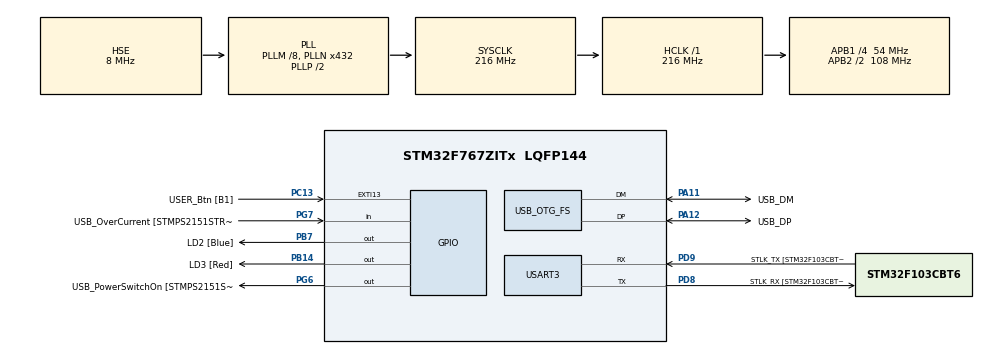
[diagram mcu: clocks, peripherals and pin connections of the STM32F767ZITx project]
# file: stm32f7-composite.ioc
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Mcu.Family=STM32F7
Mcu.Name=STM32F767ZITx
Mcu.Package=LQFP144
NVIC.OTG_FS_IRQn=true\:0\:0\:false\:false\:true\:false
NVIC.PriorityGroup=NVIC_PRIORITYGROUP_4
NVIC.TIM7_IRQn=true\:0\:0\:false\:false\:true\:false
NVIC.TimeBase=TIM7_IRQn
NVIC.TimeBaseIP=TIM7
PA11.GPIO_Label=USB_DM
PA11.Mode=Device_Only
PA11.Signal=USB_OTG_FS_DM
PA12.GPIO_Label=USB_DP
PA12.Mode=Device_Only
PA12.Signal=USB_OTG_FS_DP
PA13.GPIO_Label=TMS
PA13.Mode=Serial_Wire
PA13.Signal=SYS_JTMS-SWDIO
PA14.GPIO_Label=TCK
PA14.Mode=Serial_Wire
PA14.Signal=SYS_JTCK-SWCLK
PB14.GPIO_Label=LD3 [Red]
PB14.Signal=GPIO_Output
PB7.GPIO_Label=LD2 [Blue]
PB7.Signal=GPIO_Output
PC13.GPIO_Label=USER_Btn [B1]
PC13.Signal=GPXTI13
PC14/OSC32_IN.Mode=LSE-External-Oscillator
PC14/OSC32_IN.Signal=RCC_OSC32_IN
PC15/OSC32_OUT.Mode=LSE-External-Oscillator
PC15/OSC32_OUT.Signal=RCC_OSC32_OUT
PD8.GPIO_Label=STLK_RX [STM32F103CBT6_PA3]
PD8.Mode=Asynchronous
PD8.Signal=USART3_TX
PD9.GPIO_Label=STLK_TX [STM32F103CBT6_PA2]
PD9.Mode=Asynchronous
PD9.Signal=USART3_RX
PG6.GPIO_Label=USB_PowerSwitchOn [STMPS2151STR_EN]
PG6.Signal=GPIO_Output
PG7.GPIO_Label=USB_OverCurrent [STMPS2151STR_FAULT]
PG7.Signal=GPIO_Input
PH0/OSC_IN.GPIO_Label=MCO [STM32F103CBT6_PA8]
PH0/OSC_IN.Mode=HSE-External-Clock-Source
PH0/OSC_IN.Signal=RCC_OSC_IN
PH1/OSC_OUT.Mode=HSE-External-Clock-Source
PH1/OSC_OUT.Signal=RCC_OSC_OUT
ProjectManager.HeapSize=0x2000
ProjectManager.StackSize=0x1400
ProjectManager.TargetToolchain=TrueSTUDIO
RCC.48MHZClocksFreq_Value=24000000
RCC.AHBFreq_Value=216000000
RCC.APB1CLKDivider=RCC_HCLK_DIV4
RCC.APB1Freq_Value=54000000
RCC.APB1TimFreq_Value=108000000
RCC.APB2CLKDivider=RCC_HCLK_DIV2
RCC.APB2Freq_Value=108000000
RCC.APB2TimFreq_Value=216000000
RCC.CortexFreq_Value=216000000
RCC.HCLKFreq_Value=216000000
RCC.HSE_VALUE=8000000
RCC.HSI_VALUE=16000000
RCC.PLLM=8
RCC.PLLMUL=RCC_PLL_MUL9
RCC.PLLN=432
RCC.PLLQ=9
RCC.PRESCALERUSB=RCC_USBCLKSOURCE_PLL_DIV1_5
RCC.SYSCLKFreq_VALUE=216000000
RCC.SYSCLKSource=RCC_SYSCLKSOURCE_PLLCLK
RCC.SYSCLKSourceVirtual=RCC_SYSCLKSOURCE_PLLCLK
RCC.USBFreq_Value=48000000
RCC.VCOOutputFreq_Value=432000000
USART3.VirtualMode-Asynchronous=VM_ASYNC
USB_DEVICE.CLASS_NAME_FS=CDC
USB_DEVICE.VirtualMode-CDC_FS=Cdc
USB_DEVICE.VirtualModeFS=Cdc_FS
USB_OTG_FS.VirtualMode=Device_Only
VP_SYS_VS_tim7.Mode=TIM7
VP_USB_DEVICE_VS_USB_DEVICE_CDC_FS.Mode=CDC_FS
board=NUCLEO-F767ZI

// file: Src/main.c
/**
  ******************************************************************************
  * @file           : main.c
  * @brief          : Main program body
  ******************************************************************************
  * This notice applies to any and all portions of this file
  * that are not between comment pairs USER CODE BEGIN and
  * USER CODE END. Other portions of this file, whether
  * inserted by the user or by software development tools
  * are owned by their respective copyright owners.
  *
  * Copyright (c) 2018 STMicroelectronics International N.V.
  * All rights reserved.
  *
  * Redistribution and use in source and binary forms, with or without
  * modification, are permitted, provided that the following conditions are met:
  *
  * 1. Redistribution of source code must retain the above copyright notice,
  *    this list of conditions and the following disclaimer.
  * 2. Redistributions in binary form must reproduce the above copyright notice,
  *    this list of conditions and the following disclaimer in the documentation
  *    and/or other materials provided with the distribution.
  * 3. Neither the name of STMicroelectronics nor the names of other
  *    contributors to this software may be used to endorse or promote products
  *    derived from this software without specific written permission.
  * 4. This software, including modifications and/or derivative works of this
  *    software, must execute solely and exclusively on microcontroller or
  *    microprocessor devices manufactured by or for STMicroelectronics.
  * 5. Redistribution and use of this software other than as permitted under
  *    this license is void and will automatically terminate your rights under
  *    this license.
  *
  * THIS SOFTWARE IS PROVIDED BY STMICROELECTRONICS AND CONTRIBUTORS "AS IS"
  * AND ANY EXPRESS, IMPLIED OR STATUTORY WARRANTIES, INCLUDING, BUT NOT
  * LIMITED TO, THE IMPLIED WARRANTIES OF MERCHANTABILITY, FITNESS FOR A
  * PARTICULAR PURPOSE AND NON-INFRINGEMENT OF THIRD PARTY INTELLECTUAL PROPERTY
  * RIGHTS ARE DISCLAIMED TO THE FULLEST EXTENT PERMITTED BY LAW. IN NO EVENT
  * SHALL STMICROELECTRONICS OR CONTRIBUTORS BE LIABLE FOR ANY DIRECT, INDIRECT,
  * INCIDENTAL, SPECIAL, EXEMPLARY, OR CONSEQUENTIAL DAMAGES (INCLUDING, BUT NOT
  * LIMITED TO, PROCUREMENT OF SUBSTITUTE GOODS OR SERVICES; LOSS OF USE, DATA,
  * OR PROFITS; OR BUSINESS INTERRUPTION) HOWEVER CAUSED AND ON ANY THEORY OF
  * LIABILITY, WHETHER IN CONTRACT, STRICT LIABILITY, OR TORT (INCLUDING
  * NEGLIGENCE OR OTHERWISE) ARISING IN ANY WAY OUT OF THE USE OF THIS SOFTWARE,
  * EVEN IF ADVISED OF THE POSSIBILITY OF SUCH DAMAGE.
  *
  ******************************************************************************
  */
#include "main.h"
#include "stm32f7xx_hal.h"
#include "usb_device.h"

/* USER CODE BEGIN Includes */
#include <stdio.h>
#include <string.h>
#include <stdlib.h>
#ifdef __GNUC__
	/* With GCC/RAISONANCE, small printf (option LD Linker->Libraries->Small printf
		 set to 'Yes') calls __io_putchar() */
	#define PUTCHAR_PROTOTYPE int __io_putchar(int ch)
#else
	#define PUTCHAR_PROTOTYPE int fputc(int ch, FILE *f)
#endif /* __GNUC__ */

static void MPU_Config(void);

/* USER CODE END Includes */

UART_HandleTypeDef huart3;

/* USER CODE BEGIN PV */
/* Private variables ---------------------------------------------------------*/

/* USER CODE END PV */

void SystemClock_Config(void);
static void MX_GPIO_Init(void);
static void MX_USART3_UART_Init(void);

/* USER CODE BEGIN PFP */
/* Private function prototypes -----------------------------------------------*/

/* USER CODE END PFP */

/* USER CODE BEGIN 0 */

volatile uint32_t camera_desired_state = 0;
static __IO uint32_t camera_current_state = 0;

struct queue* empty_disp_buffers;
struct queue* process_disp_buffers;

__IO int32_t  camera_buffer = 0;
__IO int32_t  camera_buffer_state = 0;
__IO uint32_t Jpeg_Camera_Buffers[3] =
{
  0x20020000,
  0x20040000,
	0x20060000
};

PUTCHAR_PROTOTYPE
{
	HAL_UART_Transmit(&huart3, (uint8_t *)&ch, 1, 0x0f);

  return ch;
}

/* USER CODE END 0 */

int main(void)
{
  /* USER CODE BEGIN 1 */
  /* MPU Configuration----------------------------------------------------------*/
  MPU_Config();

  /* Enable I-Cache-------------------------------------------------------------*/
  SCB_EnableICache();

  /* Enable D-Cache-------------------------------------------------------------*/
  SCB_EnableDCache();
  /* USER CODE END 1 */

  /* MCU Configuration----------------------------------------------------------*/

  /* Reset of all peripherals, Initializes the Flash interface and the Systick. */
  HAL_Init();

  /* Configure the system clock */
  SystemClock_Config();

  /* Initialize all configured peripherals */
  MX_GPIO_Init();
  MX_USART3_UART_Init();
  MX_USB_DEVICE_Init();
  /* USER CODE BEGIN 2 */

  MX_USB_DEVICE_Init();

  /* USER CODE END 2 */

  /* Infinite loop */
  while (1)
  {

  /* USER CODE BEGIN 3 */
		HAL_GPIO_TogglePin(LD2_GPIO_Port, LD2_Pin);
		HAL_Delay(150);
  }
  /* USER CODE END 3 */

}

void SystemClock_Config(void)
{

  RCC_OscInitTypeDef RCC_OscInitStruct;
  RCC_ClkInitTypeDef RCC_ClkInitStruct;
  RCC_PeriphCLKInitTypeDef PeriphClkInitStruct;

    /**Configure the main internal regulator output voltage
    */
  __HAL_RCC_PWR_CLK_ENABLE();

  __HAL_PWR_VOLTAGESCALING_CONFIG(PWR_REGULATOR_VOLTAGE_SCALE1);

    /**Initializes the CPU, AHB and APB busses clocks
    */
  RCC_OscInitStruct.OscillatorType = RCC_OSCILLATORTYPE_HSE;
  RCC_OscInitStruct.HSEState = RCC_HSE_BYPASS;
  RCC_OscInitStruct.PLL.PLLState = RCC_PLL_ON;
  RCC_OscInitStruct.PLL.PLLSource = RCC_PLLSOURCE_HSE;
  RCC_OscInitStruct.PLL.PLLM = 8;
  RCC_OscInitStruct.PLL.PLLN = 432;
  RCC_OscInitStruct.PLL.PLLP = RCC_PLLP_DIV2;
  RCC_OscInitStruct.PLL.PLLQ = 9;
  if (HAL_RCC_OscConfig(&RCC_OscInitStruct) != HAL_OK)
  {
    _Error_Handler(__FILE__, __LINE__);
  }

    /**Activate the Over-Drive mode
    */
  if (HAL_PWREx_EnableOverDrive() != HAL_OK)
  {
    _Error_Handler(__FILE__, __LINE__);
  }

    /**Initializes the CPU, AHB and APB busses clocks
    */
  RCC_ClkInitStruct.ClockType = RCC_CLOCKTYPE_HCLK|RCC_CLOCKTYPE_SYSCLK
                              |RCC_CLOCKTYPE_PCLK1|RCC_CLOCKTYPE_PCLK2;
  RCC_ClkInitStruct.SYSCLKSource = RCC_SYSCLKSOURCE_PLLCLK;
  RCC_ClkInitStruct.AHBCLKDivider = RCC_SYSCLK_DIV1;
  RCC_ClkInitStruct.APB1CLKDivider = RCC_HCLK_DIV4;
  RCC_ClkInitStruct.APB2CLKDivider = RCC_HCLK_DIV2;

  if (HAL_RCC_ClockConfig(&RCC_ClkInitStruct, FLASH_LATENCY_7) != HAL_OK)
  {
    _Error_Handler(__FILE__, __LINE__);
  }

  PeriphClkInitStruct.PeriphClockSelection = RCC_PERIPHCLK_USART3|RCC_PERIPHCLK_CLK48;
  PeriphClkInitStruct.Usart3ClockSelection = RCC_USART3CLKSOURCE_PCLK1;
  PeriphClkInitStruct.Clk48ClockSelection = RCC_CLK48SOURCE_PLL;
  if (HAL_RCCEx_PeriphCLKConfig(&PeriphClkInitStruct) != HAL_OK)
  {
    _Error_Handler(__FILE__, __LINE__);
  }

    /**Configure the Systick interrupt time
    */
  HAL_SYSTICK_Config(HAL_RCC_GetHCLKFreq()/1000);

    /**Configure the Systick
    */
  HAL_SYSTICK_CLKSourceConfig(SYSTICK_CLKSOURCE_HCLK);

  /* SysTick_IRQn interrupt configuration */
  HAL_NVIC_SetPriority(SysTick_IRQn, 0, 0);
}

/* USART3 init function */
static void MX_USART3_UART_Init(void)
{

  huart3.Instance = USART3;
  huart3.Init.BaudRate = 115200;
  huart3.Init.WordLength = UART_WORDLENGTH_8B;
  huart3.Init.StopBits = UART_STOPBITS_1;
  huart3.Init.Parity = UART_PARITY_NONE;
  huart3.Init.Mode = UART_MODE_TX_RX;
  huart3.Init.HwFlowCtl = UART_HWCONTROL_NONE;
  huart3.Init.OverSampling = UART_OVERSAMPLING_16;
  huart3.Init.OneBitSampling = UART_ONE_BIT_SAMPLE_DISABLE;
  huart3.AdvancedInit.AdvFeatureInit = UART_ADVFEATURE_NO_INIT;
  if (HAL_UART_Init(&huart3) != HAL_OK)
  {
    _Error_Handler(__FILE__, __LINE__);
  }

}

/** Configure pins as
        * Analog
        * Input
        * Output
        * EVENT_OUT
        * EXTI
*/
static void MX_GPIO_Init(void)
{

  GPIO_InitTypeDef GPIO_InitStruct;

  /* GPIO Ports Clock Enable */
  __HAL_RCC_GPIOC_CLK_ENABLE();
  __HAL_RCC_GPIOH_CLK_ENABLE();
  __HAL_RCC_GPIOB_CLK_ENABLE();
  __HAL_RCC_GPIOD_CLK_ENABLE();
  __HAL_RCC_GPIOG_CLK_ENABLE();
  __HAL_RCC_GPIOA_CLK_ENABLE();

  /*Configure GPIO pin Output Level */
  HAL_GPIO_WritePin(GPIOB, LD3_Pin|LD2_Pin, GPIO_PIN_RESET);

  /*Configure GPIO pin Output Level */
  HAL_GPIO_WritePin(USB_PowerSwitchOn_GPIO_Port, USB_PowerSwitchOn_Pin, GPIO_PIN_RESET);

  /*Configure GPIO pin : USER_Btn_Pin */
  GPIO_InitStruct.Pin = USER_Btn_Pin;
  GPIO_InitStruct.Mode = GPIO_MODE_IT_RISING;
  GPIO_InitStruct.Pull = GPIO_NOPULL;
  HAL_GPIO_Init(USER_Btn_GPIO_Port, &GPIO_InitStruct);

  /*Configure GPIO pins : LD3_Pin LD2_Pin */
  GPIO_InitStruct.Pin = LD3_Pin|LD2_Pin;
  GPIO_InitStruct.Mode = GPIO_MODE_OUTPUT_PP;
  GPIO_InitStruct.Pull = GPIO_NOPULL;
  GPIO_InitStruct.Speed = GPIO_SPEED_FREQ_LOW;
  HAL_GPIO_Init(GPIOB, &GPIO_InitStruct);

  /*Configure GPIO pin : USB_PowerSwitchOn_Pin */
  GPIO_InitStruct.Pin = USB_PowerSwitchOn_Pin;
  GPIO_InitStruct.Mode = GPIO_MODE_OUTPUT_PP;
  GPIO_InitStruct.Pull = GPIO_NOPULL;
  GPIO_InitStruct.Speed = GPIO_SPEED_FREQ_LOW;
  HAL_GPIO_Init(USB_PowerSwitchOn_GPIO_Port, &GPIO_InitStruct);

  /*Configure GPIO pin : USB_OverCurrent_Pin */
  GPIO_InitStruct.Pin = USB_OverCurrent_Pin;
  GPIO_InitStruct.Mode = GPIO_MODE_INPUT;
  GPIO_InitStruct.Pull = GPIO_NOPULL;
  HAL_GPIO_Init(USB_OverCurrent_GPIO_Port, &GPIO_InitStruct);

}

/* USER CODE BEGIN 4 */
void MPU_Config(void)
{
  MPU_Region_InitTypeDef MPU_InitStruct;

  /* Disables the MPU */
  HAL_MPU_Disable();
    /**Initializes and configures the Region and the memory to be protected
    */
  MPU_InitStruct.Enable = MPU_REGION_ENABLE;
  MPU_InitStruct.Number = MPU_REGION_NUMBER0;
  MPU_InitStruct.BaseAddress = 0x20000000;
  MPU_InitStruct.Size = MPU_REGION_SIZE_128KB;
  MPU_InitStruct.SubRegionDisable = 0x0;
  MPU_InitStruct.TypeExtField = MPU_TEX_LEVEL0;
  MPU_InitStruct.AccessPermission = MPU_REGION_FULL_ACCESS;
  MPU_InitStruct.DisableExec = MPU_INSTRUCTION_ACCESS_ENABLE;
  MPU_InitStruct.IsShareable = MPU_ACCESS_NOT_SHAREABLE;
  MPU_InitStruct.IsCacheable = MPU_ACCESS_NOT_CACHEABLE;
  MPU_InitStruct.IsBufferable = MPU_ACCESS_NOT_BUFFERABLE;

  HAL_MPU_ConfigRegion(&MPU_InitStruct);

    /**Initializes and configures the Region and the memory to be protected
			Buffer 1
    */
  MPU_InitStruct.Enable = MPU_REGION_ENABLE;
  MPU_InitStruct.Number = MPU_REGION_NUMBER1;
  MPU_InitStruct.BaseAddress = 0x08100000;
  MPU_InitStruct.Size = MPU_REGION_SIZE_1MB;
  MPU_InitStruct.SubRegionDisable = 0x0;
  MPU_InitStruct.TypeExtField = MPU_TEX_LEVEL1;
  MPU_InitStruct.AccessPermission = MPU_REGION_FULL_ACCESS;
  MPU_InitStruct.DisableExec = MPU_INSTRUCTION_ACCESS_DISABLE;
  MPU_InitStruct.IsShareable = MPU_ACCESS_NOT_SHAREABLE;
  MPU_InitStruct.IsCacheable = MPU_ACCESS_NOT_CACHEABLE;
  MPU_InitStruct.IsBufferable = MPU_ACCESS_NOT_BUFFERABLE;

  HAL_MPU_ConfigRegion(&MPU_InitStruct);

  /* Enables the MPU */
  HAL_MPU_Enable(MPU_PRIVILEGED_DEFAULT);

}
/* USER CODE END 4 */

void HAL_TIM_PeriodElapsedCallback(TIM_HandleTypeDef *htim)
{
  if (htim->Instance == TIM7) {
    HAL_IncTick();
  }
}

void _Error_Handler(char *file, int line)
{
  while(1)
  {
  }
}

/************************ (C) COPYRIGHT STMicroelectronics *****END OF FILE****/
